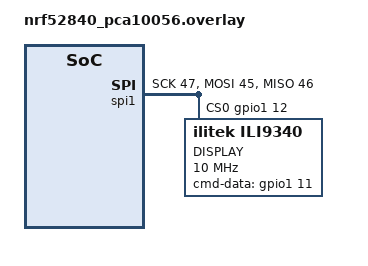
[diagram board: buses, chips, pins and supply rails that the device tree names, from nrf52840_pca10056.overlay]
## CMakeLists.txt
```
# SPDX-License-Identifier: Apache-2.0

cmake_minimum_required(VERSION 3.13.1)
include($ENV{ZEPHYR_BASE}/cmake/app/boilerplate.cmake NO_POLICY_SCOPE)
project(ili9340)

FILE(GLOB app_sources src/*.c)
target_sources(app PRIVATE ${app_sources})
```

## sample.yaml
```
sample:
  description: TBD
  name: TBD
tests:
  sample.display.ili9340:
    build_only: true
    platform_whitelist: nucleo_l476rg nrf52_pca10040
    tags: display
  sample.display.adafruit_2_8_tft_touch_v2:
    platform_whitelist: nrf52840_pca10056
    extra_args: SHIELD=adafruit_2_8_tft_touch_v2
    tags: shield
```

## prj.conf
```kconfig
CONFIG_PRINTK=y

CONFIG_HEAP_MEM_POOL_SIZE=16384

CONFIG_SPI=y

CONFIG_DISPLAY=y
CONFIG_ILI9340=y
CONFIG_DISPLAY_LOG_LEVEL_DBG=y

CONFIG_LOG=y


CONFIG_SYS_TIMEOUT_LEGACY_API=n
```

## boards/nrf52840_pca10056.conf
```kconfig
CONFIG_SPI_1=y
CONFIG_SPI_1_NRF_SPI=y
```

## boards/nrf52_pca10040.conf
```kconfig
CONFIG_SPI_1=y
CONFIG_SPI_1_NRF_SPI=y

CONFIG_ILI9340_RGB565=y
CONFIG_ILI9340_LCD_SEEED_TFTV2=y
```

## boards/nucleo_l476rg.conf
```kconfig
CONFIG_SPI_STM32=y
CONFIG_SPI_1=y
```

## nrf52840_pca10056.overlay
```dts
/*
 * Copyright (c) 2019 Nordic Semiconductor ASA
 *
 * SPDX-License-Identifier: Apache-2.0
 */

&spi1 {
	status = "okay";
	sck-pin = <47>;
	mosi-pin = <45>;
	miso-pin = <46>;
	cs-gpios = <&gpio1 12 0>;

	ili9340@0 {
		compatible = "ilitek,ili9340";
		label = "DISPLAY";
		spi-max-frequency = <10000000>;
		reg = <0>;
		cmd-data-gpios = <&gpio1 11 0>;
	};
};
```

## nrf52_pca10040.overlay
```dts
/*
 * Copyright (c) 2019 Nordic Semiconductor ASA
 *
 * SPDX-License-Identifier: Apache-2.0
 */

&spi1 {
	status = "ok";
	sck-pin = <25>;
	mosi-pin = <23>;
	miso-pin = <24>;
	cs-gpios = <&gpio0 16 0>;

	ili9340@0 {
		compatible = "ilitek,ili9340";
		label = "DISPLAY";
		spi-max-frequency = <10000000>;
		reg = <0>;
		reset-gpios = <&gpio0 21 0>;
		cmd-data-gpios = <&gpio0 17 0>;
	};
};
```

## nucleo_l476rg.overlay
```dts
/* SPDX-License-Identifier: Apache-2.0 */

&spi1 {
	status = "ok";

	ili9340@0 {
		compatible = "ilitek,ili9340";
		label = "DISPLAY";
		spi-max-frequency = <15151515>;
		reg = <0>;
		reset-gpios = <&gpioa 9 0>;
		cmd-data-gpios = <&gpioa 8 0>;
	};
};
```

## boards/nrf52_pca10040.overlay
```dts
/*
 * Copyright (c) 2019 Nordic Semiconductor ASA
 *
 * SPDX-License-Identifier: Apache-2.0
 */

&spi1 {
	status = "okay";
	sck-pin = <25>;
	mosi-pin = <23>;
	miso-pin = <24>;
	cs-gpios = <&gpio0 16 0>;

	ili9340@0 {
		compatible = "ilitek,ili9340";
		label = "DISPLAY";
		spi-max-frequency = <10000000>;
		reg = <0>;
		reset-gpios = <&gpio0 21 0>;
		cmd-data-gpios = <&gpio0 17 0>;
	};
};
```

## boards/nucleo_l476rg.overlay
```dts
/* SPDX-License-Identifier: Apache-2.0 */

&spi1 {
	status = "okay";

	ili9340@0 {
		compatible = "ilitek,ili9340";
		label = "DISPLAY";
		spi-max-frequency = <15151515>;
		reg = <0>;
		reset-gpios = <&gpioa 9 0>;
		cmd-data-gpios = <&gpioa 8 0>;
	};
};
```

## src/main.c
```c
/*
 * Copyright (c) 2017 Jan Van Winkel <jan.van_winkel@dxplore.eu>
 * Copyright (c) 2019 Nordic Semiconductor ASA
 *
 * SPDX-License-Identifier: Apache-2.0
 */

#include <device.h>
#include <drivers/display.h>
#include <stdio.h>
#include <string.h>
#include <zephyr.h>

#define LOG_LEVEL CONFIG_LOG_DEFAULT_LEVEL
#include <logging/log.h>
LOG_MODULE_REGISTER(main);

/* This example will update each 500ms one of the LCD corners
 * wit a rectangular bitmap.
 * The color of the bit map is changed for every
 * iteration and is picked out of a set of red, green and blue.
 */
void main(void)
{
	struct device *dev;

	struct display_capabilities capabilities;
	struct display_buffer_descriptor buf_desc;

#ifdef CONFIG_ILI9340_RGB565
	const size_t rgb_size = 2;
#else
	const size_t rgb_size = 3;
#endif

	/* size of the rectangle */
	const size_t w = 40;
	const size_t h = 20;
	const size_t buf_size = rgb_size * w * h;
	u8_t *buf;

	/* xy coordinates where to place rectangles*/
	size_t x0, y0, x1, y1, x2, y2, x3, y3;

	size_t color = 0;
	size_t cnt = 0;
	int h_step;

	dev = device_get_binding(DT_INST_0_ILITEK_ILI9340_LABEL);

	if (dev == NULL) {
		LOG_ERR("Device not found. Aborting test.");
		return;
	}

	display_get_capabilities(dev, &capabilities);

	x0 = 0;
	y0 = 0;
	x1 = capabilities.x_resolution - w;
	y1 = 0;
	x2 = capabilities.x_resolution - w;
	y2 = capabilities.y_resolution - h;
	x3 = 0;
	y3 = capabilities.y_resolution - h;


	/* Allocate rectangular buffer for corner data */
	buf = k_malloc(buf_size);

	if (buf == NULL) {
		LOG_ERR("Could not allocate memory. Aborting test.");
		return;
	}

	/* Clear ili9340 frame buffer before enabling LCD, reuse corner buffer
	 */
	(void)memset(buf, 0, buf_size);
	h_step = (w * h) / capabilities.x_resolution;

	buf_desc.buf_size = buf_size;
	buf_desc.pitch = capabilities.x_resolution;
	buf_desc.width = capabilities.x_resolution;
	buf_desc.height = h_step;

	for (int idx = 0; idx < capabilities.y_resolution; idx += h_step) {
		display_write(dev, 0, idx, &buf_desc,  buf);
	}

	display_blanking_off(dev);

	buf_desc.pitch = w;
	buf_desc.width = w;
	buf_desc.height = h;

	while (1) {
		/* Update the color of the rectangle buffer and write the buffer
		 * to  one of the corners
		 */
#ifdef CONFIG_ILI9340_RGB565
		/* RGB565 format */
		uint16_t color_r;
		uint16_t color_g;
		uint16_t color_b;
		uint16_t color_rgb;
		color_r = (color == 0) ? 0xF800U : 0U;
		color_g = (color == 1) ? 0x07E0U : 0U;
		color_b = (color == 2) ? 0x001FU : 0U;
		color_rgb = color_r + color_g + color_b;

		for (size_t idx = 0; idx < buf_size; idx += rgb_size) {
			*(buf + idx + 0) = (color_rgb >> 8) & 0xFFU;
			*(buf + idx + 1) = (color_rgb >> 0) & 0xFFU;
		}
#else
		/* RGB888 format */
		(void)memset(buf, 0, buf_size);
		for (size_t idx = color; idx < buf_size; idx += rgb_size) {
			*(buf + idx) = 255U;
		}
#endif
		switch (cnt % 4) {
		case 0:
			display_write(dev, x0, y0, &buf_desc, buf);
			break;
		case 1:
			display_write(dev, x1, y1, &buf_desc, buf);
			break;
		case 2:
			display_write(dev, x2, y2, &buf_desc, buf);
			break;
		case 3:
			display_write(dev, x3, y3, &buf_desc, buf);
			break;
		}
		++cnt;
		++color;
		if (color > 2) {
			color = 0;
		}
		k_sleep(K_MSEC(500));
	}
}
```
